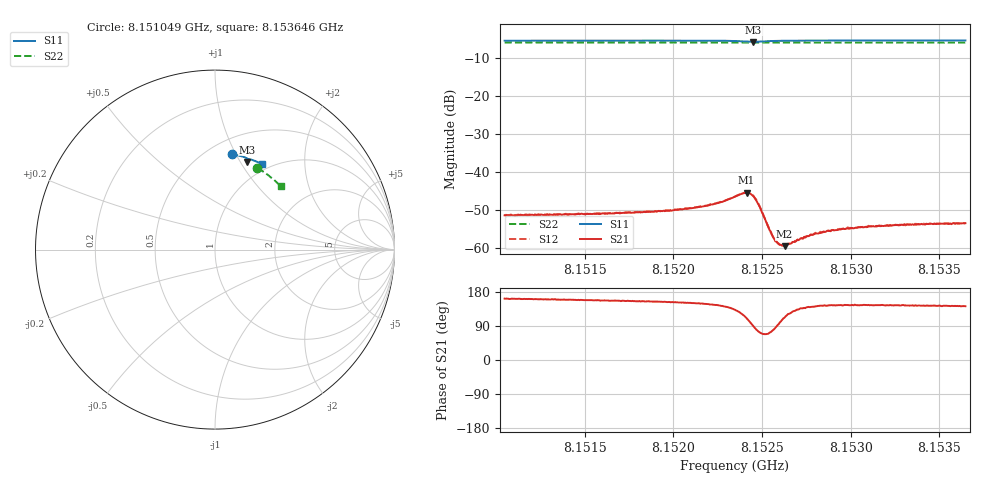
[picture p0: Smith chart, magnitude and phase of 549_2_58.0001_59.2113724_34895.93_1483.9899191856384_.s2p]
#  HZ  S  RI  R  50.00
! Rohde & Schwarz Vector Network Analyzer
! Rohde-Schwarz,ZNB20-2Port,1311601062101988,3.16
! Created: UTC 3/21/2024, 1:14:55 AM
! freq[Hz]  re:S11  im:S11  re:S21  im:S21  re:S12  im:S12  re:S22  im:S22
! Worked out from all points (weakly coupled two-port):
!   401 points, 8.151049 GHz to 8.153646 GHz, reference 50 ohm
!   highest |S21| = -45.41 dB at 8.152412 GHz (marker M1); lowest = -59.5 dB at 8.152627 GHz (marker M2)
!   lowest |S11| = -5.7 dB at 8.152451 GHz (marker M3), VSWR 3.17, Z = 40 + j53.6 ohm
!   |S11| at or under -10 dB: nowhere
!   |S22| runs from -5.9 to -5.8 dB; largest |S21 - S12| = 0.00012
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8.1510486e9  0.0938 0.5311  -0.00256 0.000833  -0.00256 0.000894  0.2367 0.4532
8.1514837e9  0.1241 0.5256  -0.00264 0.00104  -0.00257 0.0011  0.2609 0.4393
8.1519188e9  0.1545 0.5179  -0.00277 0.00136  -0.00275 0.00138  0.2841 0.4238
8.1519902e9  0.1597 0.5164  -0.00276 0.00142  -0.00278 0.00153  0.2877 0.4211
8.1521785e9  0.1739 0.5112  -0.00303 0.00189  -0.00303 0.00194  0.2974 0.4139
8.1522629e9  0.1807 0.5073  -0.0032 0.00238  -0.00325 0.00243  0.3018 0.4107
8.1523473e9  0.1874 0.5004  -0.00322 0.00351  -0.00317 0.00358  0.306 0.407
8.1523863e9  0.1885 0.4946  -0.00271 0.00444  -0.00267 0.00451  0.3078 0.4055
8.1524123e9  0.1867 0.4907  -0.00188 0.00503  -0.0018 0.00507  0.309 0.4043
8.1524318e9  0.1836 0.4886  -0.000919 0.00515  -0.000838 0.00519  0.3095 0.4035
8.1524512e9  0.1798 0.4889  8.09e-05 0.0048  0.000133 0.00486  0.3106 0.4029
8.1524837e9  0.1763 0.4938  0.000994 0.00344  0.00106 0.0035  0.3121 0.4018
8.1525486e9  0.1813 0.5018  0.000466 0.00158  0.000479 0.00153  0.3155 0.3996
8.1525681e9  0.1836 0.5027  0.000197 0.00131  0.000223 0.00133  0.3164 0.399
8.1525876e9  0.1857 0.5034  -4.18e-05 0.00117  -9.87e-07 0.00116  0.3173 0.398
8.1526006e9  0.1872 0.5034  -0.000178 0.00109  -0.000179 0.00108  0.318 0.3976
8.1526266e9  0.19 0.5035  -0.000392 0.000982  -0.000403 0.00103  0.3194 0.3965
8.1527824e9  0.2037 0.501  -0.00115 0.000955  -0.00113 0.00097  0.327 0.3899
8.1528603e9  0.2094 0.499  -0.00132 0.000985  -0.00135 0.00101  0.3308 0.3867
8.1529707e9  0.2173 0.4963  -0.00146 0.00101  -0.00146 0.00104  0.3361 0.3819
8.1532175e9  0.2338 0.4894  -0.0016 0.00114  -0.00161 0.00119  0.3473 0.3712
8.153646e9  0.261 0.4763  -0.00167 0.00131  -0.00164 0.0013  0.3663 0.3519
